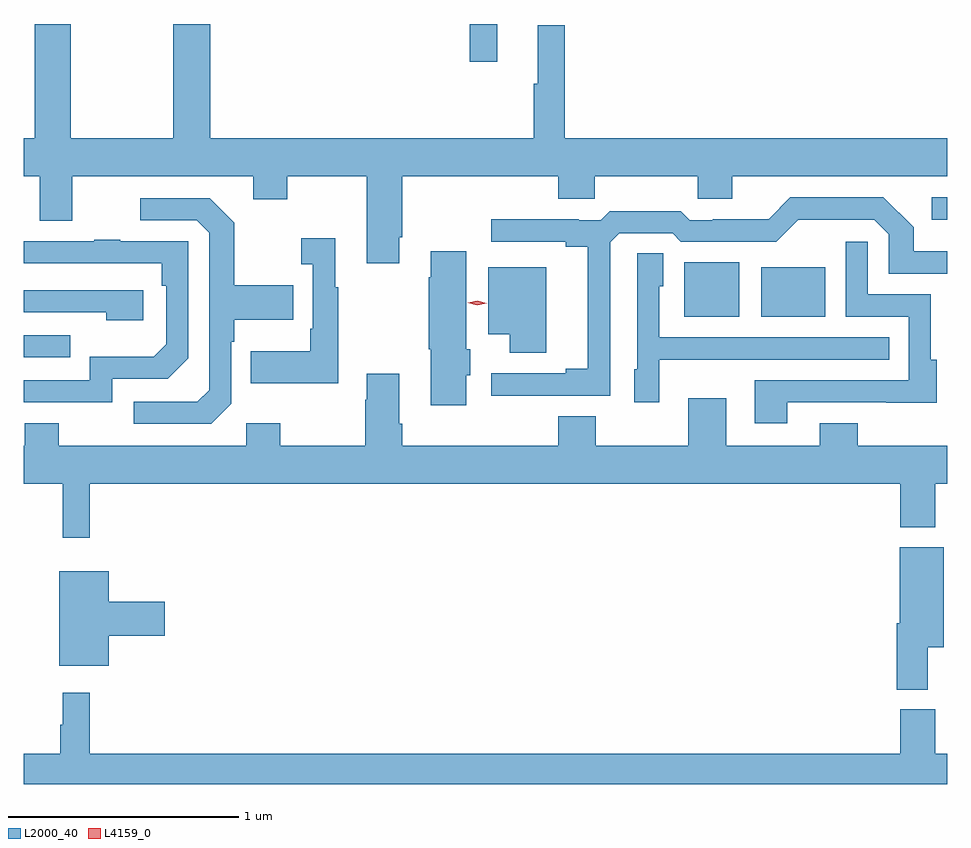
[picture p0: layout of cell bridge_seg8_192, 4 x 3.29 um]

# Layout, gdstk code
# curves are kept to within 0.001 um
import gdstk
lib = gdstk.Library(unit=1e-6, precision=1e-09)
def R(c, l, rs):  # rectangles x0, y0, x1, y1
    for r in rs: c.add(gdstk.rectangle(r[:2], r[2:], *l))
def P(c, l, *ps):  # polygons
    for p in ps: c.add(gdstk.Polygon(p, *l))
L2000_40 = (2000, 40)
L4159_0 = (4159, 0)

bridge_seg8_192 = lib.new_cell('bridge_seg8_192')
R(bridge_seg8_192, L2000_40, [(263.467,1083.747,263.669,1083.843), (266.327,1083.923,266.566,1084.159), (266.66,1083.923,266.938,1084.138), (267.399,1084.343,267.467,1084.44), (265.399,1085.028,265.517,1085.191)])
P(bridge_seg8_192, L2000_40, [(265.093,1084.267),(265.106,1084.267),(265.106,1084.532),(265.781,1084.532),(265.781,1084.434),(265.941,1084.434),(265.941,1084.532),(266.386,1084.532),(266.386,1084.434),(266.536,1084.434),(266.536,1084.532),(267.467,1084.532),(267.467,1084.696),(265.811,1084.696),(265.811,1085.185),(265.694,1085.185),(265.694,1084.932),(265.675,1084.932),(265.675,1084.696),(264.275,1084.696),(264.275,1085.191),(264.115,1085.191),(264.115,1084.696),(263.67,1084.696),(263.67,1085.191),(263.515,1085.191),(263.515,1084.696),(263.467,1084.696),(263.467,1084.532),(263.537,1084.532),(263.537,1084.338),(263.677,1084.338),(263.677,1084.532),(264.461,1084.532),(264.461,1084.433),(264.609,1084.433),(264.609,1084.532),(264.953,1084.532),(264.953,1084.155),(265.093,1084.155)],
  [(266.007,1084.245),(266.046,1084.284),(266.277,1084.284),(266.313,1084.248),(266.727,1084.248),(266.822,1084.343),(267.15,1084.344),(267.213,1084.281),(267.213,1084.11),(267.467,1084.11),(267.467,1084.207),(267.321,1084.207),(267.321,1084.31),(267.19,1084.44),(266.787,1084.44),(266.693,1084.346),(266.452,1084.346),(266.452,1084.341),(266.352,1084.341),(266.313,1084.381),(266.005,1084.381),(265.965,1084.341),(265.871,1084.341),(265.871,1084.346),(265.491,1084.346),(265.491,1084.248),(265.814,1084.248),(265.814,1084.226),(265.91,1084.226),(265.91,1083.698),(265.814,1083.698),(265.814,1083.678),(265.491,1083.678),(265.491,1083.582),(266.007,1083.582)],
  [(264.366,1083.546),(264.366,1083.815),(264.379,1083.815),(264.379,1083.911),(264.635,1083.911),(264.635,1084.059),(264.379,1084.059),(264.379,1084.331),(264.273,1084.437),(263.973,1084.437),(263.973,1084.341),(264.216,1084.341),(264.27,1084.287),(264.27,1083.606),(264.219,1083.555),(263.943,1083.555),(263.943,1083.459),(264.279,1083.459)],
  [(264.829,1084.051),(264.817,1084.051),(264.817,1084.264),(264.669,1084.264),(264.669,1084.151),(264.72,1084.151),(264.72,1083.871),(264.708,1083.871),(264.708,1083.775),(264.451,1083.775),(264.451,1083.635),(264.829,1083.635)],
  [(263.85,1083.654),(264.09,1083.654),(264.18,1083.744),(264.18,1084.251),(263.885,1084.251),(263.885,1084.256),(263.773,1084.256),(263.773,1084.251),(263.467,1084.251),(263.467,1084.155),(264.064,1084.155),(264.064,1084.058),(264.084,1084.058),(264.084,1083.804),(264.031,1083.751),(263.754,1083.751),(263.754,1083.648),(263.467,1083.648),(263.467,1083.552),(263.85,1083.552)],
  [(266.773,1083.552),(267.203,1083.552),(267.203,1083.551),(267.421,1083.551),(267.421,1083.738),(267.396,1083.738),(267.396,1084.02),(267.123,1084.02),(267.123,1084.249),(267.027,1084.249),(267.027,1083.924),(267.3,1083.924),(267.3,1083.648),(266.633,1083.648),(266.633,1083.462),(266.773,1083.462)],
  [(265.384,1083.669),(265.402,1083.669),(265.402,1083.783),(265.384,1083.783),(265.384,1084.207),(265.229,1084.207),(265.229,1084.094),(265.222,1084.094),(265.222,1083.783),(265.229,1083.783),(265.229,1083.54),(265.384,1083.54)],
  [(266.22,1083.737),(266.537,1083.737),(266.537,1083.738),(267.215,1083.738),(267.215,1083.834),(266.22,1083.834),(266.22,1084.056),(266.236,1084.056),(266.236,1084.199),(266.124,1084.199),(266.124,1083.696),(266.111,1083.696),(266.111,1083.552),(266.22,1083.552)],
  [(265.729,1084.138),(265.478,1084.138),(265.478,1083.848),(265.571,1083.848),(265.571,1083.768),(265.729,1083.768)],
  [(263.986,1084.038),(263.467,1084.038),(263.467,1083.942),(263.825,1083.942),(263.825,1083.908),(263.986,1083.908)],
  [(263.753,1083.2),(267.263,1083.2),(267.263,1083.011),(267.415,1083.011),(267.415,1083.2),(267.467,1083.2),(267.467,1083.364),(267.079,1083.364),(267.079,1083.463),(266.915,1083.463),(266.915,1083.364),(266.509,1083.364),(266.509,1083.571),(266.345,1083.571),(266.345,1083.364),(265.945,1083.364),(265.945,1083.493),(265.781,1083.493),(265.781,1083.364),(265.106,1083.364),(265.106,1083.46),(265.093,1083.46),(265.093,1083.676),(264.953,1083.676),(264.953,1083.563),(264.946,1083.563),(264.946,1083.364),(264.579,1083.364),(264.579,1083.463),(264.432,1083.463),(264.432,1083.364),(263.619,1083.364),(263.619,1083.463),(263.471,1083.463),(263.471,1083.364),(263.467,1083.364),(263.467,1083.2),(263.636,1083.2),(263.636,1082.967),(263.753,1082.967)],
  [(267.382,1082.492),(267.451,1082.492),(267.451,1082.926),(267.26,1082.926),(267.26,1082.596),(267.248,1082.596),(267.248,1082.309),(267.382,1082.309)],
  [(263.836,1082.543),(264.079,1082.543),(264.079,1082.69),(263.836,1082.69),(263.836,1082.821),(263.621,1082.821),(263.621,1082.411),(263.836,1082.411)],
  [(267.467,1082.032),(267.415,1082.032),(267.415,1082.224),(267.263,1082.224),(267.263,1082.032),(263.753,1082.032),(263.753,1082.296),(263.636,1082.296),(263.636,1082.156),(263.625,1082.156),(263.625,1082.032),(263.467,1082.032),(263.467,1081.9),(267.467,1081.9)])
P(bridge_seg8_192, L4159_0, [(265.431,1083.973),(265.39,1083.983),(265.39,1083.983),(265.39,1083.983),(265.431,1083.993),(265.472,1083.982),(265.472,1083.982),(265.472,1083.982)])

lib.write_gds('bridge_seg8_192.gds')
